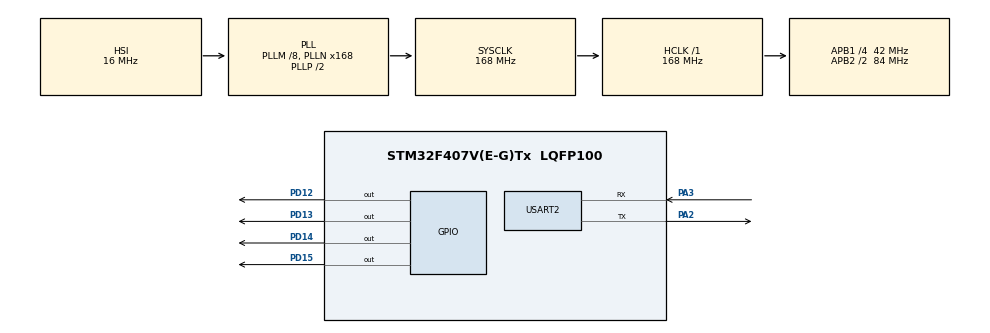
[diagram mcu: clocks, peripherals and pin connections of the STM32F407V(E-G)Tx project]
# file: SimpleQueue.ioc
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FREERTOS.Tasks01=defaultTask,0,128,StartDefaultTask,Default,NULL,Dynamic,NULL,NULL
FREERTOS.configUSE_NEWLIB_REENTRANT=1
Mcu.Family=STM32F4
Mcu.Name=STM32F407V(E-G)Tx
Mcu.Package=LQFP100
NVIC.PriorityGroup=NVIC_PRIORITYGROUP_4
NVIC.TIM1_UP_TIM10_IRQn=true\:15\:0\:false\:false\:true\:false\:false\:true\:true
NVIC.TimeBase=TIM1_UP_TIM10_IRQn
NVIC.TimeBaseIP=TIM1
NVIC.USART2_IRQn=true\:5\:0\:false\:false\:true\:true\:true\:true\:true
PA13.Mode=Serial_Wire
PA13.Signal=SYS_JTMS-SWDIO
PA14.Mode=Serial_Wire
PA14.Signal=SYS_JTCK-SWCLK
PA2.Mode=Asynchronous
PA2.Signal=USART2_TX
PA3.Mode=Asynchronous
PA3.Signal=USART2_RX
PD12.Signal=GPIO_Output
PD13.Signal=GPIO_Output
PD14.Signal=GPIO_Output
PD15.Signal=GPIO_Output
PH0-OSC_IN.Mode=HSE-External-Oscillator
PH0-OSC_IN.Signal=RCC_OSC_IN
PH1-OSC_OUT.Mode=HSE-External-Oscillator
PH1-OSC_OUT.Signal=RCC_OSC_OUT
ProjectManager.HeapSize=0x200
ProjectManager.StackSize=0x400
ProjectManager.TargetToolchain=STM32CubeIDE
RCC.48MHZClocksFreq_Value=84000000
RCC.AHBFreq_Value=168000000
RCC.APB1CLKDivider=RCC_HCLK_DIV4
RCC.APB1Freq_Value=42000000
RCC.APB1TimFreq_Value=84000000
RCC.APB2CLKDivider=RCC_HCLK_DIV2
RCC.APB2Freq_Value=84000000
RCC.APB2TimFreq_Value=168000000
RCC.CortexFreq_Value=168000000
RCC.HCLKFreq_Value=168000000
RCC.HSE_VALUE=25000000
RCC.HSI_VALUE=16000000
RCC.LSE_VALUE=32768
RCC.PLLM=8
RCC.PLLN=168
RCC.SYSCLKFreq_VALUE=168000000
RCC.SYSCLKSource=RCC_SYSCLKSOURCE_PLLCLK
RCC.VCOOutputFreq_Value=336000000
USART2.VirtualMode=VM_ASYNC
VP_FREERTOS_VS_CMSIS_V1.Mode=CMSIS_V1
VP_SYS_VS_tim1.Mode=TIM1
board=custom

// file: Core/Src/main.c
/* USER CODE BEGIN Header */
/**
  ******************************************************************************
  * @file           : main.c
  * @brief          : Main program body
  ******************************************************************************
  * @attention
  *
  * Copyright (c) 2023 STMicroelectronics.
  * All rights reserved.
  *
  * This software is licensed under terms that can be found in the LICENSE file
  * in the root directory of this software component.
  * If no LICENSE file comes with this software, it is provided AS-IS.
  *
  ******************************************************************************
  */
/* USER CODE END Header */
#include "main.h"
//#include "cmsis_os.h"

/* USER CODE BEGIN Includes */
#include "FreeRTOS.h"
#include "task.h"
#include "timers.h"
#include "queue.h"
#include "semphr.h"
#include "event_groups.h"

#include "string.h"
#include "stdio.h"
/* USER CODE END Includes */

UART_HandleTypeDef huart2;

void SystemClock_Config(void);
static void MX_GPIO_Init(void);
static void MX_USART2_UART_Init(void);

/* USER CODE BEGIN PFP */
uint8_t rx_data;

xTaskHandle Sender_HPT_Handler;
xTaskHandle Sender_LPT_Handler;
xTaskHandle Receiver_Handler;

xQueueHandle SimpleQueue;

void Sender_HPT_Task(void *argument);
void Sender_LPT_Task(void *argument);
void Receiver_Task(void *argument);
/* USER CODE END PFP */

int main(void)
{

  /* MCU Configuration--------------------------------------------------------*/

  /* Reset of all peripherals, Initializes the Flash interface and the Systick. */
  HAL_Init();

  /* Configure the system clock */
  SystemClock_Config();

  /* Initialize all configured peripherals */
  MX_GPIO_Init();
  MX_USART2_UART_Init();
  /* USER CODE BEGIN 2 */

SimpleQueue = xQueueCreate(5, sizeof (int));
if (SimpleQueue == 0)  // Queue not created
{
	  char *str = "Unable to create Integer Queue\n\n";
	  HAL_UART_Transmit(&huart2, (uint8_t *)str, strlen (str), HAL_MAX_DELAY);
}
else
{
	  char *str = "Integer Queue Created successfully\n\n";
	  HAL_UART_Transmit(&huart2, (uint8_t *)str, strlen (str), HAL_MAX_DELAY);
}

xTaskCreate(Sender_HPT_Task, "Sender_HPT_Task", 128, NULL, 3, &Sender_HPT_Handler);
xTaskCreate(Sender_LPT_Task, "Sender_LPT_Task", 128, (void *)111, 2, &Sender_HPT_Handler);
xTaskCreate(Receiver_Task, "Receiver_Task", 128, NULL, 1, &Receiver_Handler);

HAL_UART_Receive_IT(&huart2, &rx_data, 1);

vTaskStartScheduler();
  /* USER CODE END 2 */

  /* We should never get here as control is now taken by the scheduler */
  /* Infinite loop */
  while (1)
  {

  }
}

void SystemClock_Config(void)
{
  RCC_OscInitTypeDef RCC_OscInitStruct = {0};
  RCC_ClkInitTypeDef RCC_ClkInitStruct = {0};

  /** Configure the main internal regulator output voltage
  */
  __HAL_RCC_PWR_CLK_ENABLE();
  __HAL_PWR_VOLTAGESCALING_CONFIG(PWR_REGULATOR_VOLTAGE_SCALE1);

  /** Initializes the RCC Oscillators according to the specified parameters
  * in the RCC_OscInitTypeDef structure.
  */
  RCC_OscInitStruct.OscillatorType = RCC_OSCILLATORTYPE_HSI;
  RCC_OscInitStruct.HSIState = RCC_HSI_ON;
  RCC_OscInitStruct.HSICalibrationValue = RCC_HSICALIBRATION_DEFAULT;
  RCC_OscInitStruct.PLL.PLLState = RCC_PLL_ON;
  RCC_OscInitStruct.PLL.PLLSource = RCC_PLLSOURCE_HSI;
  RCC_OscInitStruct.PLL.PLLM = 8;
  RCC_OscInitStruct.PLL.PLLN = 168;
  RCC_OscInitStruct.PLL.PLLP = RCC_PLLP_DIV2;
  RCC_OscInitStruct.PLL.PLLQ = 4;
  if (HAL_RCC_OscConfig(&RCC_OscInitStruct) != HAL_OK)
  {
    Error_Handler();
  }

  /** Initializes the CPU, AHB and APB buses clocks
  */
  RCC_ClkInitStruct.ClockType = RCC_CLOCKTYPE_HCLK|RCC_CLOCKTYPE_SYSCLK
                              |RCC_CLOCKTYPE_PCLK1|RCC_CLOCKTYPE_PCLK2;
  RCC_ClkInitStruct.SYSCLKSource = RCC_SYSCLKSOURCE_PLLCLK;
  RCC_ClkInitStruct.AHBCLKDivider = RCC_SYSCLK_DIV1;
  RCC_ClkInitStruct.APB1CLKDivider = RCC_HCLK_DIV4;
  RCC_ClkInitStruct.APB2CLKDivider = RCC_HCLK_DIV2;

  if (HAL_RCC_ClockConfig(&RCC_ClkInitStruct, FLASH_LATENCY_5) != HAL_OK)
  {
    Error_Handler();
  }
}

static void MX_USART2_UART_Init(void)
{

  huart2.Instance = USART2;
  huart2.Init.BaudRate = 115200;
  huart2.Init.WordLength = UART_WORDLENGTH_8B;
  huart2.Init.StopBits = UART_STOPBITS_1;
  huart2.Init.Parity = UART_PARITY_NONE;
  huart2.Init.Mode = UART_MODE_TX_RX;
  huart2.Init.HwFlowCtl = UART_HWCONTROL_NONE;
  huart2.Init.OverSampling = UART_OVERSAMPLING_16;
  if (HAL_UART_Init(&huart2) != HAL_OK)
  {
    Error_Handler();
  }

}

static void MX_GPIO_Init(void)
{
  GPIO_InitTypeDef GPIO_InitStruct = {0};

  /* GPIO Ports Clock Enable */
  __HAL_RCC_GPIOH_CLK_ENABLE();
  __HAL_RCC_GPIOA_CLK_ENABLE();
  __HAL_RCC_GPIOD_CLK_ENABLE();

  /*Configure GPIO pin Output Level */
  HAL_GPIO_WritePin(GPIOD, GPIO_PIN_12|GPIO_PIN_13|GPIO_PIN_14|GPIO_PIN_15, GPIO_PIN_RESET);

  /*Configure GPIO pins : PD12 PD13 PD14 PD15 */
  GPIO_InitStruct.Pin = GPIO_PIN_12|GPIO_PIN_13|GPIO_PIN_14|GPIO_PIN_15;
  GPIO_InitStruct.Mode = GPIO_MODE_OUTPUT_PP;
  GPIO_InitStruct.Pull = GPIO_NOPULL;
  GPIO_InitStruct.Speed = GPIO_SPEED_FREQ_LOW;
  HAL_GPIO_Init(GPIOD, &GPIO_InitStruct);

}

/* USER CODE BEGIN 4 */
void Sender_HPT_Task (void *argument)
{
	int i=222;
	uint32_t TickDelay = pdMS_TO_TICKS(2000);
	while (1)
	{
		if (xQueueSend(SimpleQueue, &i, portMAX_DELAY) == pdPASS)
		{
			char *str2 = " Successfully sent the number to the queue\nLeaving SENDER_HPT Task\n\n\n";
			HAL_UART_Transmit(&huart2, (uint8_t *)str2, strlen (str2), HAL_MAX_DELAY);
		}
		vTaskDelay(TickDelay);
	}
}

void Sender_LPT_Task(void *argument)
{
	int i;
	uint32_t TickDelay = pdMS_TO_TICKS(1000);

	while (1)
	{
		i = (int)argument;
		char *str = "Entered the LPT TAsk abot to send a number to queue\n\n\n";
		HAL_UART_Transmit(&huart2, (uint8_t *)str, strlen (str), HAL_MAX_DELAY);

		xQueueSend(SimpleQueue, &i, portMAX_DELAY);

		char *str2 = " Successfully sent the number to the queue\nLeaving SENDER_LPT Task\n\n\n";
		HAL_UART_Transmit(&huart2, (uint8_t *)str2, strlen (str2), HAL_MAX_DELAY);

		vTaskDelay(TickDelay);
	}
}

void Receiver_Task (void *argument)
{
	int received=0;
	uint32_t TickDelay = pdMS_TO_TICKS(5000);
	while (1)
	{
		char str[100];
		if (xQueueReceive(SimpleQueue, &received, portMAX_DELAY) != pdTRUE)
		{
			HAL_UART_Transmit(&huart2, (uint8_t *)"Error in Receiving from Queue\n\n", 31, 1000);
		}
		else
		{
			sprintf(str, " Successfully RECEIVED the number %d to the queue\nLeaving RECEIVER Task\n\n\n",received);
			HAL_UART_Transmit(&huart2, (uint8_t *)str, strlen (str), HAL_MAX_DELAY);
		}
		vTaskDelay(TickDelay);
	}
}

void HAL_UART_RxCpltCallback(UART_HandleTypeDef *huart)
{
	HAL_UART_Receive_IT(huart, &rx_data, 1);
	int ToSend = 123456789;
	if (rx_data == 'r')
	{
		 /* The xHigherPriorityTaskWoken parameter must be initialized to pdFALSE as
		 it will get set to pdTRUE inside the interrupt safe API function if a
		 context switch is required. */
		BaseType_t xHigherPriorityTaskWoken = pdFALSE;

		if (xQueueSendToFrontFromISR(SimpleQueue, &ToSend, &xHigherPriorityTaskWoken) == pdPASS)
		{
			HAL_UART_Transmit(huart, (uint8_t *)"\n\nSent from ISR\n\n", 17, 500);
		}

		/* Pass the xHigherPriorityTaskWoken value into portEND_SWITCHING_ISR(). If
		 xHigherPriorityTaskWoken was set to pdTRUE inside xSemaphoreGiveFromISR()
		 then calling portEND_SWITCHING_ISR() will request a context switch. If
		 xHigherPriorityTaskWoken is still pdFALSE then calling
		 portEND_SWITCHING_ISR() will have no effect */

		portEND_SWITCHING_ISR(xHigherPriorityTaskWoken);
	}
}
/* USER CODE END 4 */

void HAL_TIM_PeriodElapsedCallback(TIM_HandleTypeDef *htim)
{
  if (htim->Instance == TIM1) {
    HAL_IncTick();
  }
}

void Error_Handler(void)
{
  __disable_irq();
  while (1)
  {
  }
}
